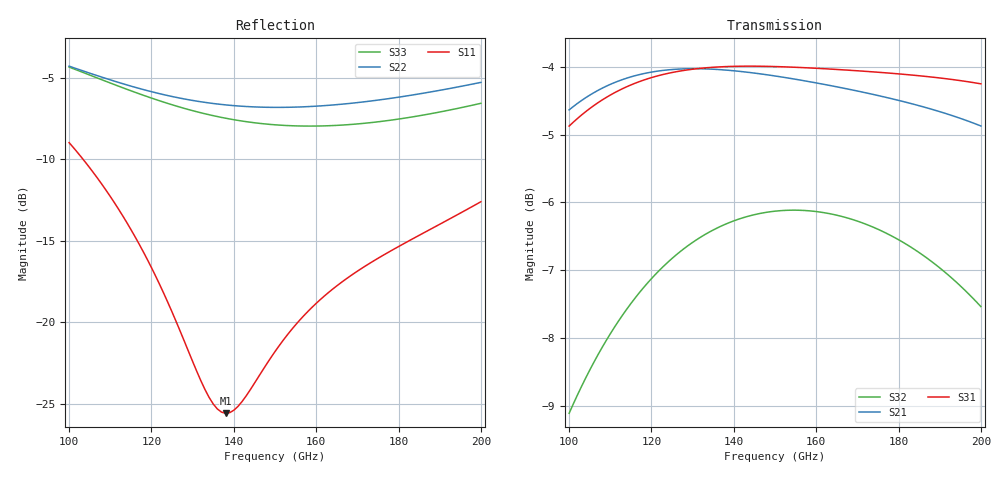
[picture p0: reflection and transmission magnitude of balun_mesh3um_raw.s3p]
#  GHZ S DB R 50.0
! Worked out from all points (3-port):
!   101 points, 100 GHz to 200 GHz, reference 50 ohm
!   strongest paths, dB at 100 GHz, 125 GHz, 150 GHz, 175 GHz, 200 GHz:
!     S31: -4.9, -4.1, -4.0, -4.1, -4.3
!     S21: -4.6, -4.0, -4.1, -4.4, -4.9
!     S32: -9.1, -6.8, -6.1, -6.4, -7.5
!   lowest |S11| = -25.6 dB at 138 GHz (marker M1), VSWR 1.11, Z = 45.3 + j1.85 ohm
!   |S11| at or under -10 dB: 103.4 GHz to end of sweep
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100  -8.97 125.7  -4.64 -15.8  -4.88 160.1
     -4.64 -15.8  -4.28 58.9  -9.11 89.1
     -4.88 160.1  -9.11 89.1  -4.34 48.2
117  -15.19 109.6  -4.12 -42.4  -4.22 131.7
     -4.12 -42.4  -5.65 44.6  -7.33 63.1
     -4.22 131.7  -7.33 63.1  -5.97 30.9
133  -24.11 130.8  -4.03 -64.9  -4.02 107.6
     -4.03 -64.9  -6.50 33.7  -6.47 40.7
     -4.02 107.6  -6.47 40.7  -7.20 18.0
138  -25.57 157.2  -4.05 -71.5  -4.00 100.5
     -4.05 -71.5  -6.66 30.4  -6.32 34.0
     -4.00 100.5  -6.32 34.0  -7.47 14.4
142  -24.85 177.4  -4.07 -76.7  -3.99 95.0
     -4.07 -76.7  -6.74 27.8  -6.23 28.9
     -3.99 95.0  -6.23 28.9  -7.65 11.6
150  -21.78 -162.4  -4.14 -86.7  -4.00 84.2
     -4.14 -86.7  -6.81 22.4  -6.13 18.7
     -4.00 84.2  -6.13 18.7  -7.88 6.0
160  -18.83 -156.1  -4.24 -98.9  -4.02 71.2
     -4.24 -98.9  -6.73 15.2  -6.13 6.4
     -4.02 71.2  -6.13 6.4  -7.95 -1.3
173  -16.37 -155.6  -4.40 -114.4  -4.07 54.6
     -4.40 -114.4  -6.43 4.8  -6.34 -9.2
     -4.07 54.6  -6.34 -9.2  -7.75 -11.4
187  -14.38 -157.1  -4.61 -131.1  -4.15 36.8
     -4.61 -131.1  -5.90 -7.9  -6.82 -26.0
     -4.15 36.8  -6.82 -26.0  -7.23 -23.7
200  -12.60 -160.1  -4.87 -147.0  -4.25 20.0
     -4.87 -147.0  -5.28 -20.8  -7.54 -41.7
     -4.25 20.0  -7.54 -41.7  -6.56 -36.4
